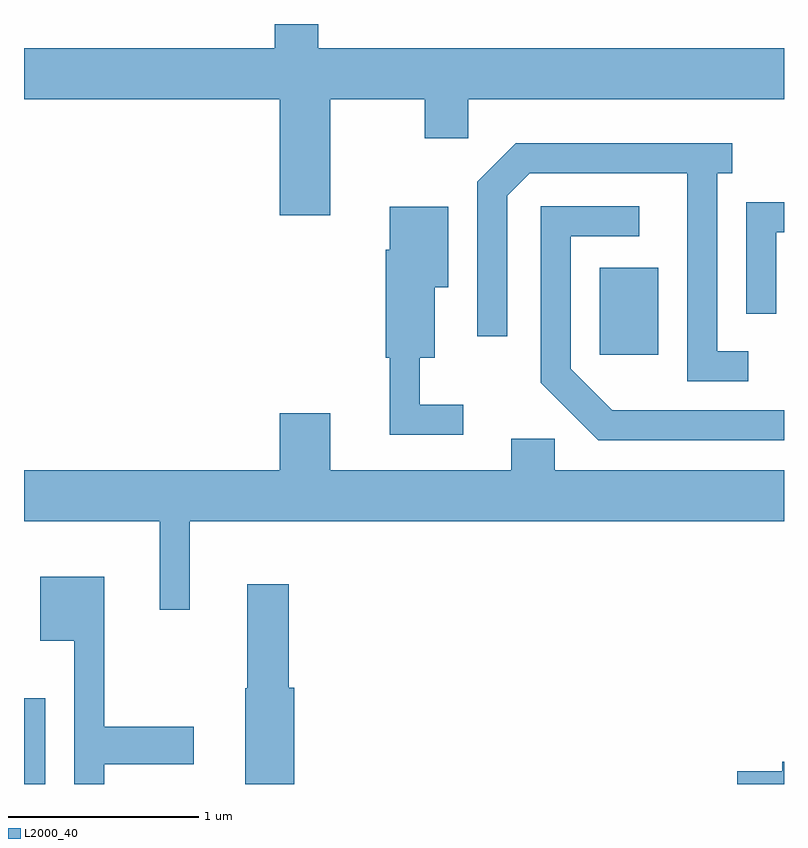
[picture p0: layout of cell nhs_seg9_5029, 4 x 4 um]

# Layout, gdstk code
import gdstk
lib = gdstk.Library(unit=1e-6, precision=1e-09)
def R(c, l, rs):  # rectangles x0, y0, x1, y1
    for r in rs: c.add(gdstk.rectangle(r[:2], r[2:], *l))
def P(c, l, *ps):  # polygons
    for p in ps: c.add(gdstk.Polygon(p, *l))
L2000_40 = (2000, 40)

nhs_seg9_5029 = lib.new_cell('nhs_seg9_5029')
R(nhs_seg9_5029, L2000_40, [(333.611,1990.432,333.724,1990.883), (336.641,1992.691,336.949,1993.149)])
P(nhs_seg9_5029, L2000_40, [(335.224,1994.036),(335.721,1994.036),(335.721,1993.831),(335.949,1993.831),(335.949,1994.036),(337.611,1994.036),(337.611,1994.304),(335.159,1994.304),(335.159,1994.432),(334.931,1994.432),(334.931,1994.304),(333.611,1994.304),(333.611,1994.036),(334.956,1994.036),(334.956,1993.426),(335.224,1993.426)],
  [(337.423,1992.709),(337.259,1992.709),(337.259,1993.646),(337.338,1993.646),(337.338,1993.804),(336.199,1993.804),(335.996,1993.602),(335.996,1992.788),(336.154,1992.788),(336.154,1993.529),(336.272,1993.646),(337.101,1993.646),(337.101,1992.551),(337.423,1992.551)],
  [(337.569,1993.336),(337.611,1993.336),(337.611,1993.494),(337.411,1993.494),(337.411,1992.908),(337.569,1992.908)],
  [(337.611,1992.399),(336.707,1992.399),(336.489,1992.617),(336.489,1993.316),(336.848,1993.316),(336.848,1993.474),(336.331,1993.474),(336.331,1992.544),(336.634,1992.241),(337.611,1992.241)],
  [(335.923,1992.429),(335.694,1992.429),(335.694,1992.676),(335.774,1992.676),(335.774,1993.046),(335.844,1993.046),(335.844,1993.469),(335.536,1993.469),(335.536,1993.244),(335.516,1993.244),(335.516,1992.676),(335.536,1992.676),(335.536,1992.271),(335.923,1992.271)],
  [(334.484,1991.816),(337.611,1991.816),(337.611,1992.084),(336.404,1992.084),(336.404,1992.249),(336.176,1992.249),(336.176,1992.084),(335.224,1992.084),(335.224,1992.384),(334.956,1992.384),(334.956,1992.084),(333.611,1992.084),(333.611,1991.816),(334.326,1991.816),(334.326,1991.348),(334.484,1991.348)],
  [(334.034,1990.536),(334.504,1990.536),(334.504,1990.734),(334.034,1990.734),(334.034,1991.524),(333.696,1991.524),(333.696,1991.186),(333.876,1991.186),(333.876,1990.432),(334.034,1990.432)],
  [(335.034,1990.939),(335.004,1990.939),(335.004,1991.484),(334.786,1991.484),(334.786,1990.935),(334.776,1990.935),(334.776,1990.432),(335.034,1990.432)],
  [(337.611,1990.549),(337.601,1990.549),(337.601,1990.499),(337.366,1990.499),(337.366,1990.432),(337.611,1990.432)])

lib.write_gds('nhs_seg9_5029.gds')
